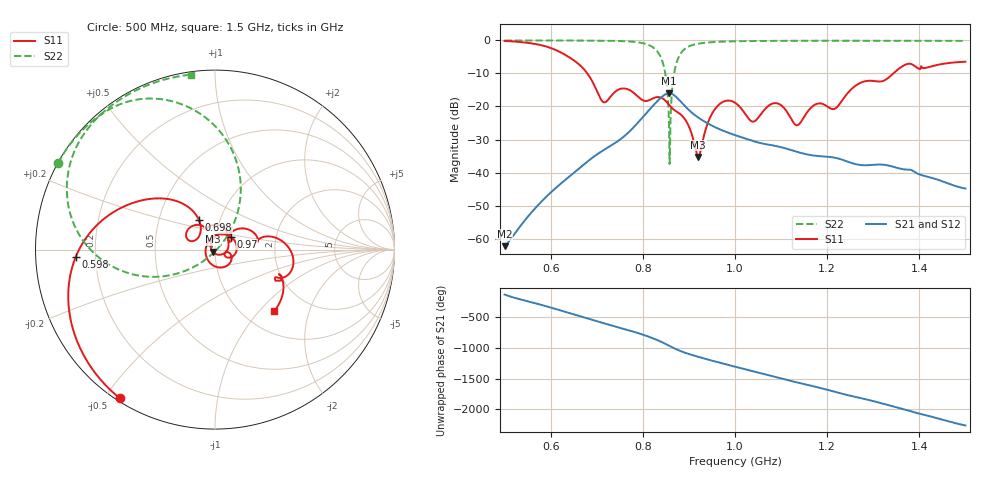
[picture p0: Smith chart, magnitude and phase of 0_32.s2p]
! TOUCHSTONE file generated by CST MICROWAVE STUDIO
! Date and time: Mon Sep 28 14:14:25 2020
! Project name: Scenario_1_Free_SPace.cst
! Parameters = {dx1=710.2; L_HA=400; MT=2.54; Rad_Dielectric=30; Rad_Lower=7.3; Rad_Upper=30; a_HA=580; a_WG=246; b_HA=500; b_WG=121; c_HA=0; c_WG=187; d_feed=85; h_feed=15; h_lower=18; h_upper=40}
! Header version: 2018
! Port assignment regex: !\s*Touchstone port\s*([0-9]+)\s*=\s*(CST MWS port|CST DS port)\s*([0-9]+|Zmin|Zmax)\s*\(\"(.*)\"\)(\s*mode\s*([0-9]+))?.*
! Touchstone port assignment:
! Touchstone port 1 = CST MWS port 1 ("")
! Touchstone port 2 = CST MWS port 2 ("")
# GHz S DB R 50
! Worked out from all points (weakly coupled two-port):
!   1003 points, 500 MHz to 1.5 GHz, reference 50 ohm
!   highest |S21| = -16.01 dB at 857 MHz (marker M1); lowest = -62.3 dB at 500 MHz (marker M2)
!   lowest |S11| = -35.3 dB at 920 MHz (marker M3), VSWR 1.03, Z = 48.7 - j1.14 ohm
!   |S11| at or under -10 dB: 679.6 MHz to 1.344 GHz (664 MHz wide, 65.6 % of centre)
!   |S22| runs from -37.4 to 0.0 dB; largest |S21 - S12| = 9.4e-06
!   S11 on the Smith chart (normalised r, x): 500 MHz: 0.01, -0.55; 598 MHz: 0.13, -0.03; 698 MHz: 0.80, +0.27; 970 MHz: 1.18, +0.17; 1.5 GHz: 1.37, -1.21
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0.5  -0.15 -122.7  -62.30 -125.9  -62.30 -125.9  -0.01 151.1
0.598  -2.18 -176.9  -46.32 26.0  -46.32 26.0  -0.02 144.2
0.667  -7.97 134.7  -38.13 -125.8  -38.13 -125.8  -0.04 138.3
0.698  -14.60 118.5  -34.76 164.2  -34.76 164.2  -0.07 135.0
0.716  -18.77 143.0  -33.11 123.3  -33.11 123.3  -0.10 132.7
0.781  -15.96 121.1  -26.16 -15.9  -26.16 -15.9  -0.42 119.6
0.834  -17.15 87.2  -18.03 -159.0  -18.03 -159.0  -3.83 86.4
0.848  -18.12 61.3  -16.40 152.1  -16.40 152.1  -9.46 64.9
0.857  -19.51 46.8  -16.01 117.5  -16.01 117.5  -26.60 40.1
0.877  -21.88 20.3  -17.76 44.7  -17.76 44.7  -5.30 -167.9
0.92  -35.30 -137.1  -23.32 -63.7  -23.32 -63.7  -0.98 157.6
0.945  -23.62 93.8  -25.44 -116.4  -25.44 -116.4  -0.58 149.9
0.97  -18.92 39.4  -27.10 -166.7  -27.10 -166.7  -0.38 144.7
1  -18.85 -12.6  -28.66 134.4  -28.66 134.4  -0.26 140.1
1.039  -24.60 -22.5  -30.44 58.9  -30.44 58.9  -0.18 135.4
1.094  -19.15 -60.6  -32.13 -45.6  -32.12 -45.6  -0.12 130.1
1.134  -25.70 170.6  -33.72 -121.7  -33.72 -121.7  -0.10 126.7
1.167  -20.08 65.0  -34.78 179.4  -34.78 179.4  -0.09 124.1
1.216  -20.72 35.8  -35.49 85.7  -35.49 85.6  -0.09 120.3
1.267  -13.22 30.7  -37.62 -9.8  -37.62 -9.8  -0.08 116.5
1.334  -11.18 14.6  -37.91 -138.3  -37.91 -138.3  -0.09 111.4
1.5  -6.45 -46.0  -44.84 -106.7  -44.84 -106.7  -0.14 97.8
